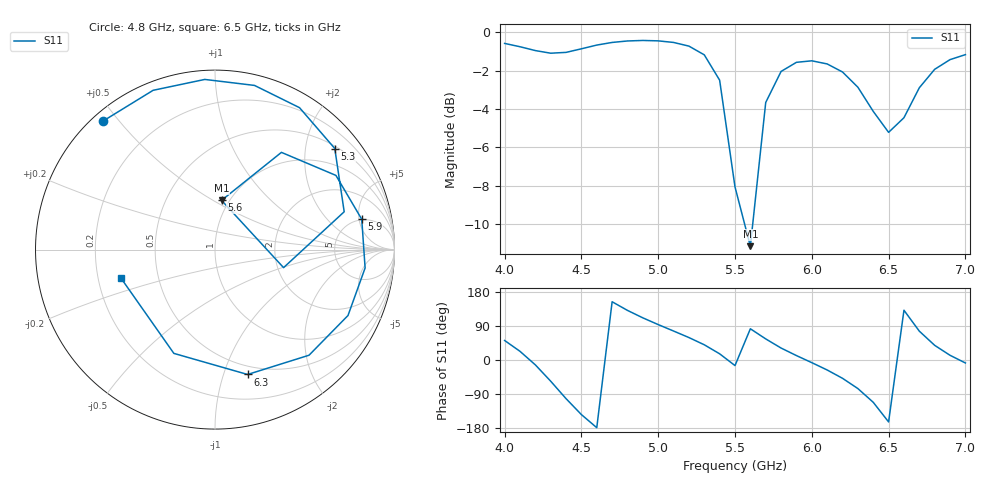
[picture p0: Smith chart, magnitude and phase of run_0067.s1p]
! Touchstone file exported from HFSS 2024.2.0
!  File:  C:/Users/wsak9/Desktop/Sim Fast/Widenad Patch/WP_AI_V1_sweep.aedt
!  Generated:  05:45:26 PM Oct 13, 2026
!  Design:  A1_model
!  Project:  WP_AI_V1_sweep
!  Setup:  Setup1
!  Solution:  Sweep
! Variables:
!  Air_gap = 1.82mm
!  Curve_Amp1 = 3.07
!  Curve_len1 = 1
!  Curve_pos = 10.405mm
!  Extra = 0.85mm
!  H_sub = 0.79mm
!  L_Patch = 16.81mm
!  L_Patch1 = 9.75mm
!  Sx = 4.17mm
!  Sy = 3.56mm
!  WS = 0.59mm
!  W_Patch = 13.82mm
!  W_Patch1 = 8.9mm
!Data is not renormalized
# GHz S MA
! Terminal data exported
! Port[1] = 1
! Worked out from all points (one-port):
!   31 points, 4 GHz to 7 GHz, reference per port
!   lowest |S11| = -11.2 dB at 5.6 GHz (marker M1), VSWR 1.77
!   |S11| at or under -10 dB: 5.563 GHz to 5.615 GHz (52.85 MHz wide, 0.946 % of centre)
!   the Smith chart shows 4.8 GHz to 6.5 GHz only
!   S11 on the Smith chart (normalised r, x): 4.8 GHz: 0.03, +0.46; 5.3 GHz: 0.55, +2.63; 5.6 GHz: 0.92, +0.55; 5.9 GHz: 4.91, +5.47; 6.3 GHz: 0.42, -1.21; 6.5 GHz: 0.30, -0.13
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4  0.9354 51.5
4.1  0.9169 23.0
4.2  0.896 -12.8
4.3  0.8819 -55.9
4.4  0.8863 -102.0
4.5  0.9056 -144.1
4.6  0.9261 -178.6
4.7  0.9408 153.7
4.8  0.9492 130.9
5  0.9498 93.4
5.2  0.9203 59.2
5.3  0.8733 40.2
5.4  0.75 16.3
5.5  0.395 -14.7
5.6  0.2768 82.4
5.7  0.6561 55.7
5.8  0.7905 31.5
5.9  0.8349 11.7
6.1  0.8269 -26.4
6.2  0.7878 -48.3
6.3  0.7191 -75.4
6.4  0.622 -111.6
6.5  0.5483 -163.4
6.6  0.5986 131.3
6.7  0.7166 76.1
6.8  0.8006 38.7
6.9  0.8486 12.4
7  0.8744 -7.8
